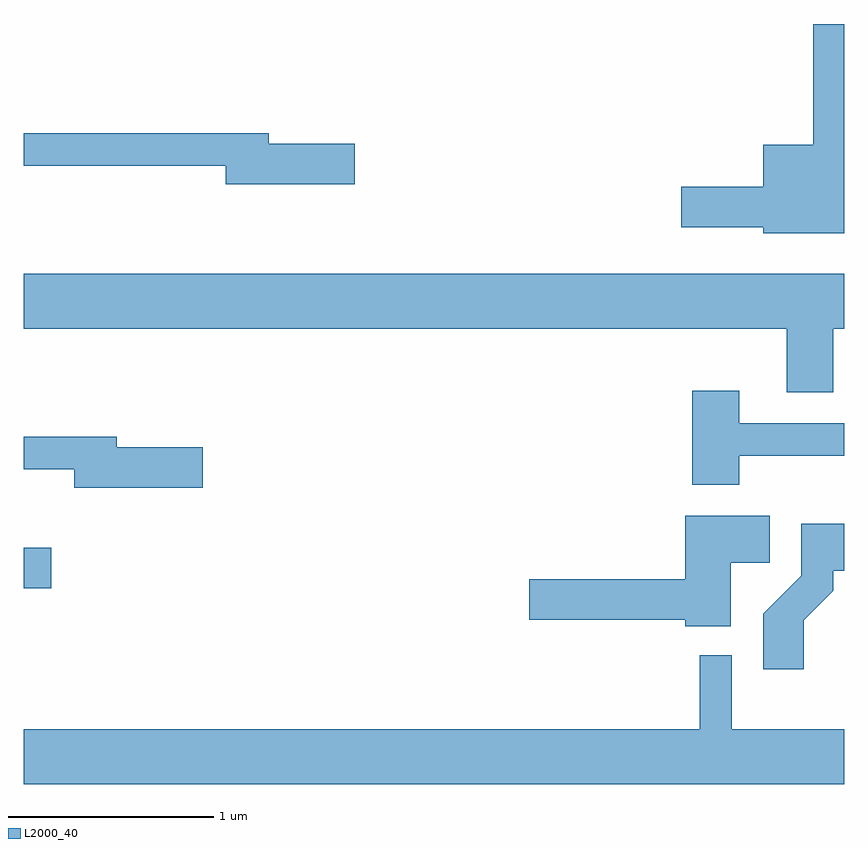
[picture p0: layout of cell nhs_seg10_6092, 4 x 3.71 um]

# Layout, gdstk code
import gdstk
lib = gdstk.Library(unit=1e-6, precision=1e-09)
def R(c, l, rs):  # rectangles x0, y0, x1, y1
    for r in rs: c.add(gdstk.rectangle(r[:2], r[2:], *l))
def P(c, l, *ps):  # polygons
    for p in ps: c.add(gdstk.Polygon(p, *l))
L2000_40 = (2000, 40)

nhs_seg10_6092 = lib.new_cell('nhs_seg10_6092')
R(nhs_seg10_6092, L2000_40, [(365.611,2103.771,365.744,2103.969)])
P(nhs_seg10_6092, L2000_40, [(369.611,2106.522),(369.461,2106.522),(369.461,2105.934),(369.216,2105.934),(369.216,2105.729),(368.816,2105.729),(368.816,2105.531),(369.216,2105.531),(369.216,2105.501),(369.611,2105.501)],
  [(367.224,2105.939),(366.804,2105.939),(366.804,2105.989),(365.611,2105.989),(365.611,2105.831),(366.596,2105.831),(366.596,2105.741),(367.224,2105.741)],
  [(369.559,2105.036),(369.611,2105.036),(369.611,2105.304),(365.611,2105.304),(365.611,2105.036),(369.331,2105.036),(369.331,2104.726),(369.559,2104.726)],
  [(369.099,2104.416),(369.611,2104.416),(369.611,2104.574),(369.099,2104.574),(369.099,2104.734),(368.871,2104.734),(368.871,2104.276),(369.099,2104.276)],
  [(366.484,2104.459),(366.064,2104.459),(366.064,2104.509),(365.611,2104.509),(365.611,2104.351),(365.856,2104.351),(365.856,2104.261),(366.484,2104.261)],
  [(369.059,2103.896),(369.249,2103.896),(369.249,2104.124),(368.836,2104.124),(368.836,2103.814),(368.076,2103.814),(368.076,2103.616),(368.836,2103.616),(368.836,2103.586),(369.059,2103.586)],
  [(369.414,2103.614),(369.559,2103.759),(369.559,2103.856),(369.611,2103.856),(369.611,2104.084),(369.401,2104.084),(369.401,2103.832),(369.216,2103.647),(369.216,2103.376),(369.414,2103.376)],
  [(369.611,2103.084),(369.064,2103.084),(369.064,2103.443),(368.906,2103.443),(368.906,2103.084),(365.611,2103.084),(365.611,2102.816),(369.611,2102.816)])

lib.write_gds('nhs_seg10_6092.gds')
